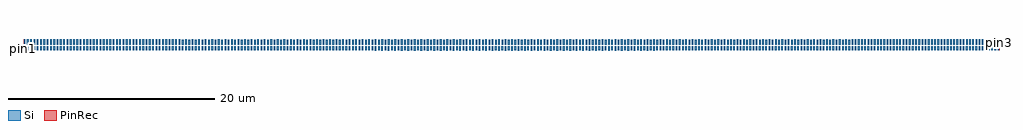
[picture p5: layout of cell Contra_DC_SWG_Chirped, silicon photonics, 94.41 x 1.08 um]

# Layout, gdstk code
import gdstk
lib = gdstk.Library(unit=1e-6, precision=1e-09)
def R(c, l, rs):  # rectangles x0, y0, x1, y1
    for r in rs: c.add(gdstk.rectangle(r[:2], r[2:], *l))
def A(c, l, x, y, w, h, nx, ny, dx, dy):  # array of equal rectangles
    R(c, l, [(x+i*dx, y+j*dy, x+i*dx+w, y+j*dy+h) for i in range(nx) for j in range(ny)])
Si = (1, 0)
PinRec = (1, 10)

contra_dc_swg_chirped = lib.new_cell('Contra_DC_SWG_Chirped')
A(contra_dc_swg_chirped, Si, 43.324, -0.229, 0.158, 0.399, 4, 1, 0.627, 0)
A(contra_dc_swg_chirped, Si, 46.458, -0.229, 0.158, 0.399, 5, 1, 0.626, 0)
A(contra_dc_swg_chirped, Si, 52.712, -0.228, 0.158, 0.399, 3, 1, 0.624, 0)
A(contra_dc_swg_chirped, Si, 16.179, -0.206, 0.16, 0.399, 3, 1, 0.635, 0)
A(contra_dc_swg_chirped, Si, 80.625, -0.204, 0.157, 0.399, 3, 1, 0.616, 0)
A(contra_dc_swg_chirped, Si, 9.817, -0.203, 0.16, 0.399, 3, 1, 0.637, 0)
A(contra_dc_swg_chirped, Si, 83.088, -0.203, 0.157, 0.399, 3, 1, 0.615, 0)
A(contra_dc_swg_chirped, Si, 6.629, -0.202, 0.16, 0.399, 3, 1, 0.638, 0)
A(contra_dc_swg_chirped, Si, 89.846, -0.201, 0.156, 0.399, 4, 1, 0.613, 0)
A(contra_dc_swg_chirped, Si, 0.239, -0.2, 0.16, 0.399, 3, 1, 0.64, 0)
A(contra_dc_swg_chirped, Si, 0.559, -0.2, 0.16, 0.4, 3, 1, 0.64, 0)
A(contra_dc_swg_chirped, Si, 2.478, -0.2, 0.16, 0.4, 4, 1, 0.639, 0)
A(contra_dc_swg_chirped, Si, 5.672, -0.2, 0.16, 0.4, 5, 1, 0.638, 0)
A(contra_dc_swg_chirped, Si, 12.683, -0.2, 0.159, 0.4, 4, 1, 0.636, 0)
A(contra_dc_swg_chirped, Si, 15.862, -0.2, 0.159, 0.4, 5, 1, 0.635, 0)
A(contra_dc_swg_chirped, Si, 20.939, -0.2, 0.159, 0.4, 3, 1, 1.267, 0)
A(contra_dc_swg_chirped, Si, 26.004, -0.2, 0.159, 0.4, 5, 1, 0.632, 0)
A(contra_dc_swg_chirped, Si, 31.057, -0.2, 0.159, 0.4, 3, 1, 1.261, 0)
A(contra_dc_swg_chirped, Si, 36.098, -0.2, 0.159, 0.4, 5, 1, 0.629, 0)
A(contra_dc_swg_chirped, Si, 39.871, -0.2, 0.159, 0.4, 4, 1, 0.628, 0)
A(contra_dc_swg_chirped, Si, 46.145, -0.2, 0.158, 0.4, 5, 1, 0.626, 0)
A(contra_dc_swg_chirped, Si, 49.9, -0.2, 0.158, 0.4, 5, 1, 0.625, 0)
A(contra_dc_swg_chirped, Si, 54.896, -0.2, 0.158, 0.4, 3, 1, 0.624, 0)
A(contra_dc_swg_chirped, Si, 56.767, -0.2, 0.158, 0.4, 4, 1, 0.623, 0)
A(contra_dc_swg_chirped, Si, 59.881, -0.2, 0.158, 0.4, 5, 1, 0.622, 0)
A(contra_dc_swg_chirped, Si, 63.612, -0.2, 0.157, 0.4, 4, 1, 0.621, 0)
A(contra_dc_swg_chirped, Si, 66.716, -0.2, 0.157, 0.4, 4, 1, 0.62, 0)
A(contra_dc_swg_chirped, Si, 69.815, -0.2, 0.157, 0.4, 5, 1, 0.619, 0)
A(contra_dc_swg_chirped, Si, 74.764, -0.2, 0.157, 0.4, 3, 1, 1.235, 0)
A(contra_dc_swg_chirped, Si, 79.701, -0.2, 0.157, 0.4, 5, 1, 0.616, 0)
A(contra_dc_swg_chirped, Si, 84.626, -0.2, 0.157, 0.4, 3, 1, 1.229, 0)
A(contra_dc_swg_chirped, Si, 89.539, -0.2, 0.157, 0.4, 5, 1, 0.613, 0)
A(contra_dc_swg_chirped, Si, 44.895, 0.311, 0.158, 0.499, 3, 1, 1.253, 0)
A(contra_dc_swg_chirped, Si, 49.904, 0.311, 0.158, 0.499, 4, 1, 0.625, 0)
A(contra_dc_swg_chirped, Si, 80.323, 0.344, 0.157, 0.499, 3, 1, 0.616, 0)
A(contra_dc_swg_chirped, Si, 83.402, 0.346, 0.157, 0.499, 3, 1, 0.615, 0)
A(contra_dc_swg_chirped, Si, 6.311, 0.348, 0.16, 0.499, 3, 1, 0.638, 0)
A(contra_dc_swg_chirped, Si, 87.704, 0.348, 0.157, 0.499, 3, 1, 0.614, 0)
A(contra_dc_swg_chirped, Si, 0.559, 0.349, 0.16, 0.499, 3, 1, 0.64, 0)
A(contra_dc_swg_chirped, Si, 2.478, 0.349, 0.16, 0.499, 4, 1, 0.639, 0)
A(contra_dc_swg_chirped, Si, 90.159, 0.349, 0.157, 0.499, 3, 1, 0.613, 0)
A(contra_dc_swg_chirped, Si, 2.798, 0.35, 0.16, 0.5, 4, 1, 0.639, 0)
A(contra_dc_swg_chirped, Si, 7.268, 0.35, 0.16, 0.5, 3, 1, 1.275, 0)
A(contra_dc_swg_chirped, Si, 13.002, 0.35, 0.159, 0.5, 3, 1, 0.636, 0)
A(contra_dc_swg_chirped, Si, 16.816, 0.35, 0.159, 0.5, 3, 1, 0.635, 0)
A(contra_dc_swg_chirped, Si, 19.355, 0.35, 0.159, 0.5, 5, 1, 0.634, 0)
A(contra_dc_swg_chirped, Si, 23.158, 0.35, 0.159, 0.5, 4, 1, 0.633, 0)
A(contra_dc_swg_chirped, Si, 26.322, 0.35, 0.159, 0.5, 5, 1, 0.632, 0)
A(contra_dc_swg_chirped, Si, 31.374, 0.35, 0.159, 0.5, 3, 1, 0.631, 0)
A(contra_dc_swg_chirped, Si, 33.266, 0.35, 0.159, 0.5, 5, 1, 0.63, 0)
A(contra_dc_swg_chirped, Si, 37.045, 0.35, 0.158, 0.5, 3, 1, 0.629, 0)
A(contra_dc_swg_chirped, Si, 40.188, 0.35, 0.159, 0.5, 3, 1, 0.628, 0)
A(contra_dc_swg_chirped, Si, 47.088, 0.35, 0.158, 0.5, 3, 1, 0.626, 0)
A(contra_dc_swg_chirped, Si, 49.591, 0.35, 0.158, 0.5, 6, 1, 0.625, 0)
A(contra_dc_swg_chirped, Si, 57.083, 0.35, 0.158, 0.5, 4, 1, 0.623, 0)
A(contra_dc_swg_chirped, Si, 61.441, 0.35, 0.158, 0.5, 3, 1, 1.243, 0)
A(contra_dc_swg_chirped, Si, 67.031, 0.35, 0.157, 0.5, 3, 1, 0.62, 0)
A(contra_dc_swg_chirped, Si, 70.749, 0.35, 0.157, 0.5, 3, 1, 0.619, 0)
A(contra_dc_swg_chirped, Si, 73.224, 0.35, 0.157, 0.5, 5, 1, 0.618, 0)
A(contra_dc_swg_chirped, Si, 76.931, 0.35, 0.157, 0.5, 4, 1, 0.617, 0)
A(contra_dc_swg_chirped, Si, 80.015, 0.35, 0.157, 0.5, 5, 1, 0.616, 0)
A(contra_dc_swg_chirped, Si, 84.939, 0.35, 0.157, 0.5, 3, 1, 0.615, 0)
A(contra_dc_swg_chirped, Si, 86.783, 0.35, 0.157, 0.5, 5, 1, 0.614, 0)
A(contra_dc_swg_chirped, Si, 90.466, 0.35, 0.156, 0.5, 3, 1, 0.613, 0)
R(contra_dc_swg_chirped, Si, [(45.831,-0.229,45.99,0.17), (49.587,-0.229,49.745,0.17), (50.212,-0.229,50.371,0.17), (50.838,-0.229,50.996,0.17), (51.463,-0.229,51.621,0.17), (52.087,-0.229,52.245,0.17), (41.441,-0.228,41.6,0.171), (42.069,-0.228,42.227,0.171), (42.696,-0.228,42.855,0.171), (39.557,-0.227,39.715,0.172), (40.185,-0.227,40.344,0.172), (40.813,-0.227,40.972,0.172), (54.584,-0.227,54.742,0.172), (55.208,-0.227,55.366,0.172), (38.3,-0.226,38.458,0.173), (38.928,-0.226,39.087,0.173), (55.832,-0.226,55.99,0.173), (56.455,-0.226,56.613,0.173), (37.042,-0.225,37.2,0.174), (37.671,-0.225,37.829,0.174), (57.079,-0.225,57.237,0.174), (57.702,-0.225,57.86,0.174), (36.413,-0.224,36.571,0.175), (58.325,-0.224,58.482,0.175), (58.947,-0.224,59.105,0.175), (35.154,-0.223,35.312,0.176), (35.783,-0.223,35.942,0.176), (59.57,-0.223,59.728,0.176), (60.192,-0.223,60.35,0.176), (33.894,-0.222,34.053,0.177), (34.524,-0.222,34.683,0.177), (60.814,-0.222,60.972,0.177), (33.264,-0.221,33.422,0.178), (61.436,-0.221,61.594,0.178), (62.058,-0.221,62.216,0.178), (32.003,-0.22,32.162,0.179), (32.633,-0.22,32.792,0.179), (62.68,-0.22,62.837,0.179), (31.372,-0.219,31.531,0.18), (63.301,-0.219,63.459,0.18), (63.922,-0.219,64.08,0.18), (30.11,-0.218,30.269,0.181), (30.741,-0.218,30.9,0.181), (64.543,-0.218,64.701,0.181), (29.479,-0.217,29.638,0.182), (65.164,-0.217,65.322,0.182), (65.785,-0.217,65.942,0.182), (28.216,-0.216,28.375,0.183), (28.847,-0.216,29.006,0.183), (66.405,-0.216,66.563,0.183), (26.952,-0.215,27.111,0.184), (27.584,-0.215,27.743,0.184), (67.026,-0.215,67.183,0.184), (67.646,-0.215,67.803,0.184), (26.32,-0.214,26.479,0.185), (68.266,-0.214,68.423,0.185), (68.885,-0.214,69.043,0.185), (25.055,-0.213,25.214,0.186), (25.687,-0.213,25.846,0.186), (69.505,-0.213,69.662,0.186), (24.422,-0.212,24.581,0.187), (70.124,-0.212,70.282,0.187), (70.743,-0.212,70.901,0.187), (23.156,-0.211,23.315,0.188), (23.789,-0.211,23.948,0.188), (71.362,-0.211,71.52,0.188), (71.981,-0.211,72.139,0.188), (21.889,-0.21,22.048,0.189), (22.523,-0.21,22.682,0.189), (72.6,-0.21,72.757,0.189), (73.218,-0.21,73.376,0.189), (20.622,-0.209,20.781,0.19), (21.255,-0.209,21.415,0.19), (73.837,-0.209,73.994,0.19), (19.353,-0.208,19.513,0.191), (19.988,-0.208,20.147,0.191), (74.455,-0.208,74.612,0.191), (75.072,-0.208,75.23,0.191), (75.69,-0.208,75.847,0.191), (18.084,-0.207,18.244,0.192), (18.719,-0.207,18.878,0.192), (76.308,-0.207,76.465,0.192), (76.925,-0.207,77.082,0.192), (77.542,-0.206,77.699,0.193), (78.159,-0.206,78.316,0.193), (14.273,-0.205,14.432,0.194), (14.908,-0.205,15.068,0.194), (15.544,-0.205,15.703,0.194), (78.776,-0.205,78.933,0.194), (79.392,-0.205,79.549,0.194), (80.009,-0.205,80.166,0.194), (12.364,-0.204,12.524,0.195), (13.001,-0.204,13.16,0.195), (13.637,-0.204,13.796,0.195), (11.728,-0.203,11.887,0.196), (82.472,-0.203,82.629,0.196), (8.543,-0.202,8.702,0.197), (9.18,-0.202,9.34,0.197), (84.933,-0.202,85.09,0.197), (85.548,-0.202,85.705,0.197), (86.162,-0.202,86.319,0.197), (86.777,-0.202,86.933,0.197), (87.391,-0.202,87.548,0.197), (2.158,-0.201,2.318,0.198), (2.798,-0.201,2.958,0.198), (3.437,-0.201,3.597,0.198), (4.076,-0.201,4.235,0.198), (4.714,-0.201,4.874,0.198), (5.353,-0.201,5.513,0.198), (5.991,-0.201,6.151,0.198), (88.005,-0.201,88.162,0.198), (88.619,-0.201,88.775,0.198), (89.232,-0.201,89.389,0.198), (92.297,-0.201,92.454,0.198), (-0.08,-0.2,0.08,0.2), (5.034,-0.2,5.193,0.2), (8.861,-0.2,9.021,0.2), (9.499,-0.2,9.658,0.2), (10.136,-0.2,10.296,0.2), (10.773,-0.2,10.932,0.2), (11.41,-0.2,11.569,0.2), (12.046,-0.2,12.206,0.2), (15.226,-0.2,15.386,0.2), (19.036,-0.2,19.195,0.2), (19.67,-0.2,19.83,0.2), (20.305,-0.2,20.464,0.2), (21.572,-0.2,21.732,0.2), (22.839,-0.2,22.999,0.2), (24.106,-0.2,24.265,0.2), (24.738,-0.2,24.898,0.2), (25.371,-0.2,25.53,0.2), (29.163,-0.2,29.322,0.2), (29.795,-0.2,29.953,0.2), (30.426,-0.2,30.585,0.2), (31.688,-0.2,31.846,0.2), (32.949,-0.2,33.107,0.2), (34.209,-0.2,34.368,0.2), (34.839,-0.2,34.997,0.2), (35.468,-0.2,35.627,0.2), (39.243,-0.2,39.401,0.2), (42.383,-0.2,42.541,0.2), (43.01,-0.2,43.169,0.2), (43.637,-0.2,43.796,0.2), (44.265,-0.2,44.423,0.2), (44.891,-0.2,45.05,0.2), (45.518,-0.2,45.676,0.2), (49.274,-0.2,49.433,0.2), (53.024,-0.2,53.182,0.2), (53.648,-0.2,53.806,0.2), (54.273,-0.2,54.431,0.2), (59.259,-0.2,59.416,0.2), (62.99,-0.2,63.148,0.2), (66.095,-0.2,66.253,0.2), (69.195,-0.2,69.353,0.2), (72.909,-0.2,73.066,0.2), (73.527,-0.2,73.685,0.2), (74.146,-0.2,74.303,0.2), (75.381,-0.2,75.539,0.2), (76.616,-0.2,76.774,0.2), (77.851,-0.2,78.008,0.2), (78.467,-0.2,78.625,0.2), (79.084,-0.2,79.241,0.2), (82.78,-0.2,82.937,0.2), (83.396,-0.2,83.552,0.2), (84.011,-0.2,84.168,0.2), (85.241,-0.2,85.397,0.2), (86.47,-0.2,86.626,0.2), (87.698,-0.2,87.855,0.2), (88.312,-0.2,88.468,0.2), (88.925,-0.2,89.082,0.2), (92.604,-0.2,92.76,0.2), (92.91,-0.2,93.066,0.199), (93.216,-0.2,93.373,0.2), (93.522,-0.2,93.679,0.199), (93.828,-0.2,93.985,0.2), (94.141,-0.2,94.298,0.2), (44.268,0.311,44.426,0.81), (45.521,0.311,45.68,0.81), (46.774,0.311,46.933,0.81), (48.027,0.311,48.185,0.81), (48.652,0.311,48.811,0.81), (49.278,0.311,49.436,0.81), (42.386,0.312,42.544,0.811), (43.013,0.312,43.172,0.811), (43.641,0.312,43.799,0.811), (52.403,0.312,52.562,0.811), (53.028,0.312,53.186,0.811), (41.13,0.313,41.289,0.812), (41.758,0.313,41.917,0.812), (53.652,0.313,53.81,0.812), (54.276,0.313,54.435,0.812), (39.874,0.314,40.032,0.813), (40.502,0.314,40.661,0.813), (54.9,0.314,55.058,0.813), (55.524,0.314,55.682,0.813), (39.246,0.315,39.404,0.814), (56.148,0.315,56.306,0.814), (56.771,0.315,56.929,0.814), (37.988,0.316,38.147,0.815), (38.617,0.316,38.775,0.815), (57.394,0.316,57.552,0.815), (37.359,0.317,37.518,0.816), (58.017,0.317,58.175,0.816), (58.64,0.317,58.798,0.816), (36.73,0.318,36.889,0.817), (59.263,0.318,59.421,0.817), (35.471,0.319,35.63,0.818), (36.101,0.319,36.259,0.818), (59.885,0.319,60.043,0.818), (34.841,0.32,35,0.819), (60.508,0.32,60.666,0.819), (34.211,0.321,34.37,0.82), (61.13,0.321,61.288,0.82), (61.752,0.321,61.91,0.82), (33.581,0.322,33.74,0.821), (62.374,0.322,62.531,0.821), (32.951,0.323,33.11,0.822), (62.995,0.323,63.153,0.822), (31.69,0.324,31.849,0.823), (32.321,0.324,32.479,0.823), (63.616,0.324,63.774,0.823), (31.059,0.325,31.218,0.824), (64.238,0.325,64.395,0.824), (30.428,0.326,30.587,0.825), (64.859,0.326,65.016,0.825), (29.797,0.327,29.956,0.826), (65.479,0.327,65.637,0.826), (66.1,0.327,66.258,0.826), (29.165,0.328,29.324,0.827), (66.72,0.328,66.878,0.827), (28.534,0.329,28.693,0.828), (67.341,0.329,67.498,0.828), (27.27,0.33,27.429,0.829), (27.902,0.33,28.061,0.829), (67.961,0.33,68.118,0.829), (26.638,0.331,26.797,0.83), (68.581,0.331,68.738,0.83), (26.006,0.332,26.165,0.831), (69.2,0.332,69.358,0.831), (25.373,0.333,25.532,0.832), (69.82,0.333,69.977,0.832), (70.439,0.333,70.597,0.832), (24.74,0.334,24.899,0.833), (71.058,0.334,71.216,0.833), (23.474,0.335,23.633,0.834), (24.107,0.335,24.267,0.834), (71.677,0.335,71.835,0.834), (22.841,0.336,23,0.835), (72.296,0.336,72.453,0.835), (72.915,0.336,73.072,0.835), (21.574,0.337,21.733,0.836), (22.208,0.337,22.367,0.836), (73.533,0.337,73.69,0.836), (20.94,0.338,21.099,0.837), (74.151,0.338,74.308,0.837), (19.672,0.339,19.831,0.838), (20.306,0.339,20.465,0.838), (74.769,0.339,74.926,0.838), (75.387,0.339,75.544,0.838), (19.038,0.34,19.197,0.839), (76.005,0.34,76.162,0.839), (76.622,0.34,76.779,0.839), (17.768,0.341,17.928,0.84), (18.403,0.341,18.562,0.84), (77.239,0.341,77.396,0.84), (16.498,0.342,16.658,0.841), (17.133,0.342,17.293,0.841), (77.856,0.342,78.014,0.841), (78.473,0.342,78.63,0.841), (15.227,0.343,15.387,0.842), (15.863,0.343,16.022,0.842), (79.09,0.343,79.247,0.842), (79.707,0.343,79.864,0.842), (13.956,0.344,14.115,0.843), (14.592,0.344,14.751,0.843), (12.047,0.345,12.207,0.844), (12.683,0.345,12.843,0.844), (13.32,0.345,13.479,0.844), (82.171,0.345,82.328,0.844), (82.786,0.345,82.943,0.844), (10.137,0.346,10.296,0.845), (10.774,0.346,10.933,0.845), (11.41,0.346,11.57,0.845), (8.225,0.347,8.384,0.846), (8.862,0.347,9.022,0.846), (9.499,0.347,9.659,0.846), (85.247,0.347,85.404,0.846), (85.862,0.347,86.018,0.846), (86.476,0.347,86.633,0.846), (87.09,0.347,87.247,0.846), (5.034,0.348,5.194,0.847), (5.672,0.348,5.832,0.847), (89.546,0.348,89.702,0.847), (-0.078,0.349,0.078,0.848), (91.998,0.349,92.154,0.848), (92.611,0.349,92.767,0.848), (93.223,0.349,93.379,0.848), (93.835,0.349,93.992,0.848), (0.24,0.35,0.4,0.85), (0.879,0.35,1.039,0.85), (1.519,0.35,1.679,0.85), (2.159,0.35,2.318,0.85), (5.353,0.35,5.513,0.85), (5.992,0.35,6.151,0.85), (6.63,0.35,6.79,0.85), (7.906,0.35,8.065,0.85), (9.181,0.35,9.34,0.85), (10.455,0.35,10.615,0.85), (11.092,0.35,11.252,0.85), (11.729,0.35,11.888,0.85), (12.365,0.35,12.525,0.85), (14.909,0.35,15.069,0.85), (15.545,0.35,15.705,0.85), (16.18,0.35,16.34,0.85), (18.72,0.35,18.88,0.85), (22.524,0.35,22.684,0.85), (25.689,0.35,25.848,0.85), (29.481,0.35,29.64,0.85), (30.112,0.35,30.271,0.85), (30.744,0.35,30.902,0.85), (36.415,0.35,36.574,0.85), (38.931,0.35,39.09,0.85), (39.56,0.35,39.718,0.85), (42.072,0.35,42.23,0.85), (42.7,0.35,42.858,0.85), (43.327,0.35,43.485,0.85), (43.954,0.35,44.113,0.85), (44.581,0.35,44.74,0.85), (45.208,0.35,45.366,0.85), (45.835,0.35,45.993,0.85), (46.461,0.35,46.62,0.85), (48.965,0.35,49.123,0.85), (53.34,0.35,53.498,0.85), (53.964,0.35,54.122,0.85), (54.589,0.35,54.747,0.85), (55.212,0.35,55.37,0.85), (55.836,0.35,55.994,0.85), (56.46,0.35,56.617,0.85), (59.574,0.35,59.732,0.85), (60.197,0.35,60.354,0.85), (60.819,0.35,60.977,0.85), (62.063,0.35,62.22,0.85), (63.306,0.35,63.463,0.85), (64.548,0.35,64.706,0.85), (65.169,0.35,65.327,0.85), (65.79,0.35,65.947,0.85), (66.41,0.35,66.568,0.85), (68.89,0.35,69.048,0.85), (69.51,0.35,69.668,0.85), (70.129,0.35,70.287,0.85), (72.605,0.35,72.763,0.85), (76.313,0.35,76.471,0.85), (79.398,0.35,79.555,0.85), (83.094,0.35,83.251,0.85), (83.709,0.35,83.866,0.85), (84.325,0.35,84.481,0.85), (89.852,0.35,90.009,0.85), (92.304,0.35,92.461,0.85), (92.917,0.35,93.073,0.85), (93.529,0.35,93.686,0.85), (94.141,0.35,94.298,0.85)])
contra_dc_swg_chirped.add(gdstk.FlexPath([(-0.07,0),(-0.09,0)], 0.4, ends="flush", simple_path=True, layer=1, datatype=10))  # PinRec
contra_dc_swg_chirped.add(gdstk.FlexPath([(-0.07,0.599),(-0.09,0.599)], 0.5, ends="flush", simple_path=True, layer=1, datatype=10))  # PinRec
contra_dc_swg_chirped.add(gdstk.FlexPath([(94.299,0.599),(94.319,0.599)], 0.5, ends="flush", simple_path=True, layer=1, datatype=10))  # PinRec
contra_dc_swg_chirped.add(gdstk.FlexPath([(94.299,0),(94.319,0)], 0.4, ends="flush", simple_path=True, layer=1, datatype=10))  # PinRec
contra_dc_swg_chirped.add(gdstk.Label('pin1', (-0.08,0), layer=1, texttype=10))
contra_dc_swg_chirped.add(gdstk.Label('pin2', (-0.08,0.599), layer=1, texttype=10))
contra_dc_swg_chirped.add(gdstk.Label('pin3', (94.309,0.599), layer=1, texttype=10))
contra_dc_swg_chirped.add(gdstk.Label('pin4', (94.309,0), layer=1, texttype=10))

lib.write_gds('Contra_DC_SWG_Chirped.gds')
